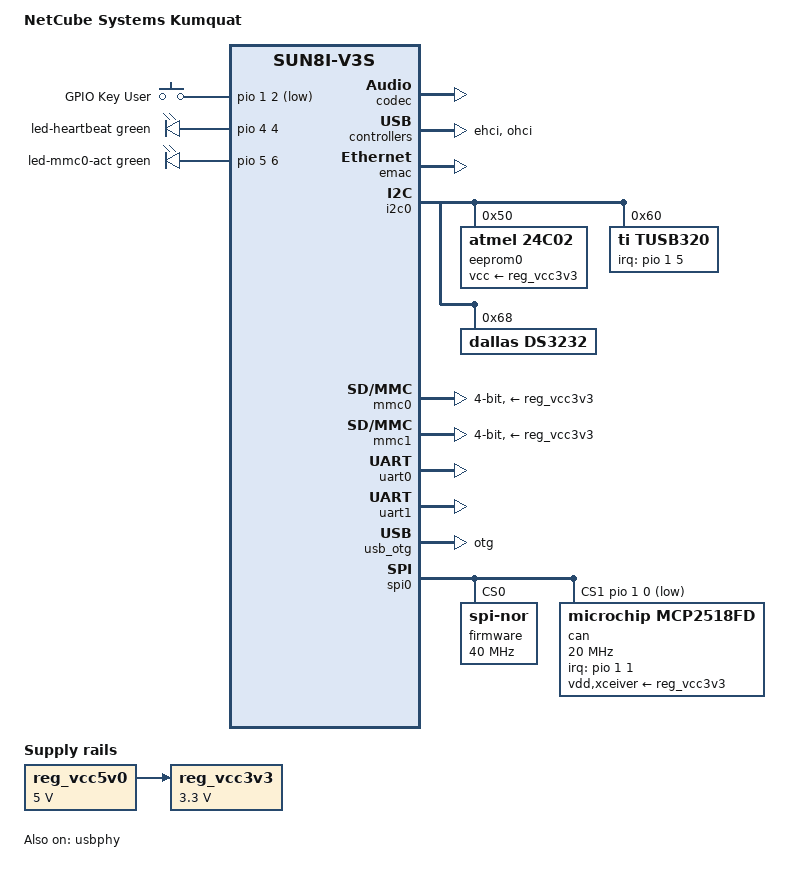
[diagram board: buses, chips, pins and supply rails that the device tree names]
// SPDX-License-Identifier: (GPL-2.0+ OR MIT)
/*
 * Copyright (C) 2025 Lukas Schmid <lukas.schmid@netcube.li>
 */

/dts-v1/;
#include "sun8i-v3s.dtsi"

#include <dt-bindings/input/input.h>
#include <dt-bindings/leds/common.h>
#include <dt-bindings/gpio/gpio.h>

/{
	model = "NetCube Systems Kumquat";
	compatible = "netcube,kumquat", "allwinner,sun8i-v3s";

	aliases {
		serial0 = &uart0;
		ethernet0 = &emac;
		rtc0 = &ds3232;
		rtc1 = &rtc; /* not battery backed */
	};

	chosen {
		stdout-path = "serial0:115200n8";
	};

	/* 40 MHz Crystal Oscillator on PCB */
	clk_can0: clock-can0 {
		compatible = "fixed-clock";
		#clock-cells = <0>;
		clock-frequency = <40000000>;
	};

	gpio-keys {
		compatible = "gpio-keys";
		autorepeat;

		key-user {
			label = "GPIO Key User";
			linux,code = <KEY_PROG1>;
			gpios = <&pio 1 2 (GPIO_ACTIVE_LOW | GPIO_PULL_UP)>; /* PB2 */
		};
	};

	leds {
		compatible = "gpio-leds";

		led-heartbeat {
			gpios = <&pio 4 4 GPIO_ACTIVE_HIGH>; /* PE4 */
			linux,default-trigger = "heartbeat";
			color = <LED_COLOR_ID_GREEN>;
			function = LED_FUNCTION_HEARTBEAT;
		};

		led-mmc0-act {
			gpios = <&pio 5 6 GPIO_ACTIVE_HIGH>; /* PF6 */
			linux,default-trigger = "mmc0";
			color = <LED_COLOR_ID_GREEN>;
			function = LED_FUNCTION_DISK;
		};
	};

	/* EA3036C Switching 3 Channel Regulator - Channel 2 */
	reg_vcc3v3: regulator-3v3 {
		compatible = "regulator-fixed";
		regulator-name = "vcc3v3";
		regulator-min-microvolt = <3300000>;
		regulator-max-microvolt = <3300000>;
		vin-supply = <&reg_vcc5v0>;
	};

	/* K7805-1000R3 Switching Regulator supplied from main 12/24V terminal block */
	reg_vcc5v0: regulator-5v0 {
		compatible = "regulator-fixed";
		regulator-name = "vcc5v0";
		regulator-min-microvolt = <5000000>;
		regulator-max-microvolt = <5000000>;
	};
};

&codec {
	allwinner,audio-routing =
		"Headphone", "HP",
		"Headphone", "HPCOM",
		"MIC1", "Mic",
		"Mic", "HBIAS";
	status = "okay";
};

&ehci {
	status = "okay";
};

&emac {
	allwinner,leds-active-low;
	nvmem-cells = <&eth0_macaddress>;
	nvmem-cell-names = "mac-address";
	status = "okay";
};

&i2c0 {
	status = "okay";

	eeprom0: eeprom@50 {
		compatible = "atmel,24c02";		/* actually it's a 24AA02E48 */
		reg = <0x50>;
		pagesize = <16>;
		read-only;
		vcc-supply = <&reg_vcc3v3>;

		#address-cells = <1>;
		#size-cells = <1>;

		eth0_macaddress: macaddress@fa {
			reg = <0xfa 0x06>;
		};
	};

	tusb320: typec@60 {
		compatible = "ti,tusb320";
		reg = <0x60>;
		interrupts-extended = <&pio 1 5 IRQ_TYPE_LEVEL_LOW>;  /* PB5 */
	};

	ds3232: rtc@68 {
		compatible = "dallas,ds3232";
		reg = <0x68>;
	};
};

/* Exposed as the Flash/SD Header on the board */
&mmc0 {
	vmmc-supply = <&reg_vcc3v3>;
	bus-width = <4>;
	broken-cd;
	status = "okay";
};

/* Connected to the on-board ESP32 */
&mmc1 {
	vmmc-supply = <&reg_vcc3v3>;
	bus-width = <4>;
	broken-cd;
	status = "okay";
};

&ohci {
	status = "okay";
};

/* Disable external 32k osc as it is broken on current revision */
&osc32k {
	status = "disabled";
};

&pio {
	vcc-pb-supply = <&reg_vcc3v3>;
	vcc-pc-supply = <&reg_vcc3v3>;
	vcc-pe-supply = <&reg_vcc3v3>;
	vcc-pf-supply = <&reg_vcc3v3>;
	vcc-pg-supply = <&reg_vcc3v3>;

	gpio-line-names = "", "", "", "", // PA
			  "", "", "", "",
			  "", "", "", "",
			  "", "", "", "",
			  "", "", "", "",
			  "", "", "", "",
			  "", "", "", "",
			  "", "", "", "",
			  "CAN_nCS", "CAN_nINT", "USER_SW", "PB3", // PB
			  "USB_ID", "USBC_nINT", "I2C0_SCL", "I2C0_SDA",
			  "UART0_TX", "UART0_RX", "", "",
			  "", "", "", "",
			  "", "", "", "",
			  "", "", "", "",
			  "", "", "", "",
			  "", "", "", "",
			  "SPI_MISO", "SPI_SCK", "FLASH_nCS", "SPI_MOSI", // PC
			  "", "", "", "",
			  "", "", "", "",
			  "", "", "", "",
			  "", "", "", "",
			  "", "", "", "",
			  "", "", "", "",
			  "", "", "", "",
			  "", "", "", "", // PD
			  "", "", "", "",
			  "", "", "", "",
			  "", "", "", "",
			  "", "", "", "",
			  "", "", "", "",
			  "", "", "", "",
			  "", "", "", "",
			  "Q12", "Q11", "Q10", "Q9", // PE
			  "LED_SYS0", "I1", "Q1", "Q2",
			  "I2", "I3", "Q3", "Q4",
			  "I4", "I5", "Q5", "Q6",
			  "I6", "I7", "Q7", "Q8",
			  "I8", "UART1_TXD", "UART1_RXD", "ESP_nRST",
			  "ESP_nBOOT", "", "", "",
			  "", "", "", "",
			  "SD_D1", "SD_D0", "SD_CLK", "SD_CMD", // PF
			  "SD_D3", "SD_D2", "LED_SYS1", "",
			  "", "", "", "",
			  "", "", "", "",
			  "", "", "", "",
			  "", "", "", "",
			  "", "", "", "",
			  "", "", "", "",
			  "ESP_CLK", "ESP_CMD", "ESP_D0", "ESP_D1", // PG
			  "ESP_D2", "ESP_D3", "", "",
			  "", "", "", "",
			  "", "", "", "",
			  "", "", "", "",
			  "", "", "", "",
			  "", "", "", "",
			  "", "", "", "";
};

/* Disable external 32k osc as it is broken on current revision */
&rtc {
	/delete-property/ clocks;
};

/* Exposed as a USB-C connector with USB-Serial converter */
&uart0 {
	pinctrl-0 = <&uart0_pb_pins>;
	pinctrl-names = "default";
	status = "okay";
};

/* Connected to the Bootloader/Console of the ESP32 */
&uart1 {
	pinctrl-0 = <&uart1_pe_pins>;
	pinctrl-names = "default";
	status = "okay";
};

&usb_otg {
	extcon = <&tusb320 0>;
	dr_mode = "otg";
	status = "okay";
};

&usbphy {
	usb0_id_det-gpios = <&pio 1 4 GPIO_ACTIVE_HIGH>; /* PB4 */
	status = "okay";
};

&spi0 {
	#address-cells = <1>;
	#size-cells = <0>;
	cs-gpios = <0>, <&pio 1 0 GPIO_ACTIVE_LOW>; /* PB0 */
	status = "okay";

	flash@0 {
		compatible = "jedec,spi-nor";
		reg = <0>;
		#address-cells = <1>;
		#size-cells = <1>;
		label = "firmware";
		spi-max-frequency = <40000000>;
	};

	can@1 {
		compatible = "microchip,mcp2518fd";
		reg = <1>;
		clocks = <&clk_can0>;
		interrupts-extended = <&pio 1 1 IRQ_TYPE_LEVEL_LOW>;  /* PB1 */
		spi-max-frequency = <20000000>;
		vdd-supply = <&reg_vcc3v3>;
		xceiver-supply = <&reg_vcc3v3>;
	};
};
